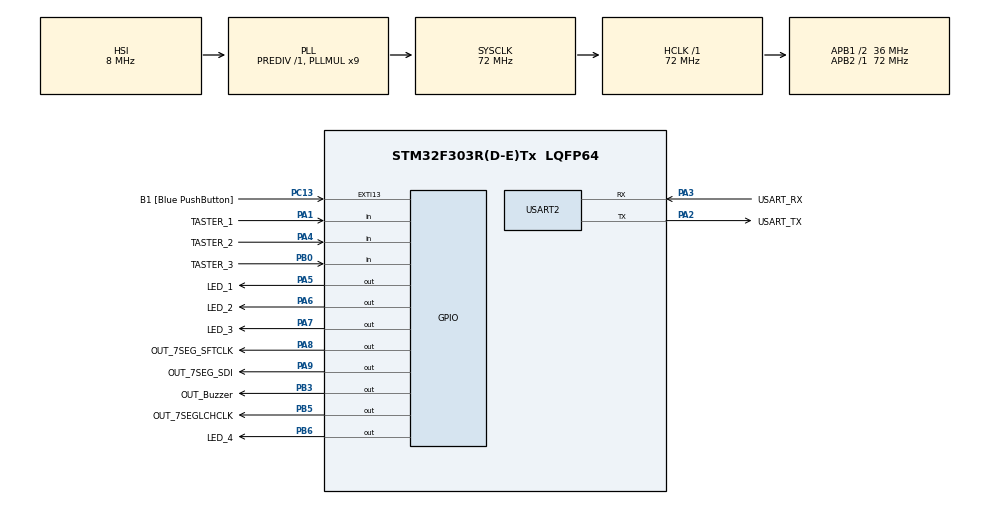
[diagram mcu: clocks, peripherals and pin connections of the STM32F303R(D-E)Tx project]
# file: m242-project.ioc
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FREERTOS.Tasks01=defaultTask,24,128,StartDefaultTask,Default,NULL,Dynamic,NULL,NULL;tasterTask,8,128,Taster_Treiber_Task,Default,NULL,Dynamic,NULL,NULL;displayTask,8,128,StartDisplayTask,Default,NULL,Dynamic,NULL,NULL
FREERTOS.Timers01=stopwatchTimer,stopwatchCallback,osTimerPeriodic,Default,NULL,Dynamic,NULL
FREERTOS.configUSE_NEWLIB_REENTRANT=1
Mcu.Family=STM32F3
Mcu.Name=STM32F303R(D-E)Tx
Mcu.Package=LQFP64
NVIC.PriorityGroup=NVIC_PRIORITYGROUP_4
NVIC.TIM1_UP_TIM16_IRQn=true\:15\:0\:false\:false\:true\:false\:false\:true\:true
NVIC.TIM3_IRQn=true\:5\:0\:false\:false\:true\:true\:true\:true\:true
NVIC.TimeBase=TIM1_UP_TIM16_IRQn
NVIC.TimeBaseIP=TIM1
PA1.GPIO_Label=TASTER_1
PA1.Signal=GPIO_Input
PA13.GPIO_Label=TMS
PA13.Mode=Serial_Wire
PA13.Signal=SYS_JTMS-SWDIO
PA14.GPIO_Label=TCK
PA14.Mode=Serial_Wire
PA14.Signal=SYS_JTCK-SWCLK
PA2.GPIO_Label=USART_TX
PA2.GPIO_Mode=GPIO_MODE_AF_PP
PA2.GPIO_PuPd=GPIO_NOPULL
PA2.GPIO_Speed=GPIO_SPEED_FREQ_LOW
PA2.Mode=Asynchronous
PA2.Signal=USART2_TX
PA3.GPIO_Label=USART_RX
PA3.GPIO_Mode=GPIO_MODE_AF_PP
PA3.GPIO_PuPd=GPIO_NOPULL
PA3.GPIO_Speed=GPIO_SPEED_FREQ_LOW
PA3.Mode=Asynchronous
PA3.Signal=USART2_RX
PA4.GPIO_Label=TASTER_2
PA4.Signal=GPIO_Input
PA5.GPIO_Label=LED_1
PA5.GPIO_Mode=GPIO_MODE_OUTPUT_PP
PA5.GPIO_PuPd=GPIO_NOPULL
PA5.GPIO_Speed=GPIO_SPEED_FREQ_LOW
PA5.Signal=GPIO_Output
PA6.GPIO_Label=LED_2
PA6.Signal=GPIO_Output
PA7.GPIO_Label=LED_3
PA7.Signal=GPIO_Output
PA8.GPIO_Label=OUT_7SEG_SFTCLK
PA8.Signal=GPIO_Output
PA9.GPIO_Label=OUT_7SEG_SDI
PA9.Signal=GPIO_Output
PB0.GPIO_Label=TASTER_3
PB0.Signal=GPIO_Input
PB3.GPIO_Label=OUT_Buzzer
PB3.Signal=GPIO_Output
PB5.GPIO_Label=OUT_7SEGLCHCLK
PB5.Signal=GPIO_Output
PB6.GPIO_Label=LED_4
PB6.Signal=GPIO_Output
PC13.GPIO_Label=B1 [Blue PushButton]
PC13.GPIO_ModeDefaultEXTI=GPIO_MODE_IT_FALLING
PC13.Signal=GPXTI13
PC14-OSC32_IN.Mode=LSE-External-Oscillator
PC14-OSC32_IN.Signal=RCC_OSC32_IN
PC15-OSC32_OUT.Mode=LSE-External-Oscillator
PC15-OSC32_OUT.Signal=RCC_OSC32_OUT
PF0-OSC_IN.Mode=HSE-External-Clock-Source
PF0-OSC_IN.Signal=RCC_OSC_IN
PF1-OSC_OUT.Signal=RCC_OSC_OUT
ProjectManager.HeapSize=0x200
ProjectManager.StackSize=0x400
ProjectManager.TargetToolchain=STM32CubeIDE
RCC.AHBFreq_Value=72000000
RCC.APB1CLKDivider=RCC_HCLK_DIV2
RCC.APB1Freq_Value=36000000
RCC.APB1TimFreq_Value=72000000
RCC.APB2Freq_Value=72000000
RCC.APB2TimFreq_Value=72000000
RCC.CortexFreq_Value=72000000
RCC.HCLKFreq_Value=72000000
RCC.HSE_VALUE=8000000
RCC.HSI_VALUE=8000000
RCC.PLLM=8
RCC.PLLMUL=RCC_PLL_MUL9
RCC.PLLN=336
RCC.PLLP=RCC_PLLP_DIV4
RCC.PLLQ=7
RCC.RCC_PLLsource_Clock_Source_FROM_HSE=RCC_HSE_PREDIV_DIV2
RCC.SYSCLKFreq_VALUE=72000000
RCC.SYSCLKSourceVirtual=RCC_SYSCLKSOURCE_PLLCLK
RCC.USBFreq_Value=72000000
TIM3.Period=250
TIM3.Prescaler=36000-1
USART2.VirtualMode-Asynchronous=VM_ASYNC
VP_FREERTOS_VS_CMSIS_V2.Mode=CMSIS_V2
VP_SYS_VS_tim1.Mode=TIM1
VP_TIM3_VS_ClockSourceINT.Mode=Internal
board=NUCLEO-F303RE

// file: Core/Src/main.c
/* USER CODE BEGIN Header */
/**
 ******************************************************************************
 * @file           : main.c
 * @brief          : Main program body
 ******************************************************************************
 * @attention
 *
 * Copyright (c) 2023 STMicroelectronics.
 * All rights reserved.
 *
 * This software is licensed under terms that can be found in the LICENSE file
 * in the root directory of this software component.
 * If no LICENSE file comes with this software, it is provided AS-IS.
 *
 ******************************************************************************
 */
/* USER CODE END Header */
#include "main.h"
#include "cmsis_os.h"

/* USER CODE BEGIN Includes */

#include "LED_Treiber.h"
#include "Taster_Treiber.h"
#include "Seg_Driver.h"

/* USER CODE END Includes */

TIM_HandleTypeDef htim3;

UART_HandleTypeDef huart2;

/* Definitions for defaultTask */
osThreadId_t defaultTaskHandle;
const osThreadAttr_t defaultTask_attributes = { .name = "defaultTask",
		.stack_size = 128 * 4, .priority = (osPriority_t) osPriorityNormal, };
/* Definitions for tasterTask */
osThreadId_t tasterTaskHandle;
const osThreadAttr_t tasterTask_attributes = { .name = "tasterTask",
		.stack_size = 128 * 4, .priority = (osPriority_t) osPriorityLow, };
/* Definitions for displayTask */
osThreadId_t displayTaskHandle;
const osThreadAttr_t displayTask_attributes = { .name = "displayTask",
		.stack_size = 128 * 4, .priority = (osPriority_t) osPriorityLow, };
/* Definitions for stopwatchTimer */
osTimerId_t stopwatchTimerHandle;
const osTimerAttr_t stopwatchTimer_attributes = { .name = "stopwatchTimer" };

void SystemClock_Config(void);
static void MX_GPIO_Init(void);
static void MX_USART2_UART_Init(void);
static void MX_TIM3_Init(void);
void StartDefaultTask(void *argument);
void Taster_Treiber_Task(void *argument);
void StartDisplayTask(void *argument);
//void stopwatchCallback(void *argument);

int main(void) {

	/* MCU Configuration--------------------------------------------------------*/

	/* Reset of all peripherals, Initializes the Flash interface and the Systick. */
	HAL_Init();

	/* Configure the system clock */
	SystemClock_Config();

	/* Initialize all configured peripherals */
	MX_GPIO_Init();
	MX_USART2_UART_Init();
	MX_TIM3_Init();

	/* Init scheduler */
	osKernelInitialize();

	/* Create the timer(s) */
	/* creation of stopwatchTimer */
	//stopwatchTimerHandle = osTimerNew(stopwatchCallback, osTimerPeriodic, NULL, &stopwatchTimer_attributes);

	/* Create the thread(s) */
	/* creation of defaultTask */
	defaultTaskHandle = osThreadNew(StartDefaultTask, NULL,
			&defaultTask_attributes);

	/* creation of tasterTask */
	tasterTaskHandle = osThreadNew(Taster_Treiber_Task, NULL,
			&tasterTask_attributes);

	/* creation of displayTask */
	displayTaskHandle = osThreadNew(StartDisplayTask, NULL,
			&displayTask_attributes);

	/* Start scheduler */
	osKernelStart();
	/* We should never get here as control is now taken by the scheduler */
	/* Infinite loop */
	while (1) {

	}
}

void SystemClock_Config(void) {
	RCC_OscInitTypeDef RCC_OscInitStruct = { 0 };
	RCC_ClkInitTypeDef RCC_ClkInitStruct = { 0 };
	RCC_PeriphCLKInitTypeDef PeriphClkInit = { 0 };

	/** Initializes the RCC Oscillators according to the specified parameters
	 * in the RCC_OscInitTypeDef structure.
	 */
	RCC_OscInitStruct.OscillatorType = RCC_OSCILLATORTYPE_HSI;
	RCC_OscInitStruct.HSIState = RCC_HSI_ON;
	RCC_OscInitStruct.HSICalibrationValue = RCC_HSICALIBRATION_DEFAULT;
	RCC_OscInitStruct.PLL.PLLState = RCC_PLL_ON;
	RCC_OscInitStruct.PLL.PLLSource = RCC_PLLSOURCE_HSI;
	RCC_OscInitStruct.PLL.PLLMUL = RCC_PLL_MUL9;
	RCC_OscInitStruct.PLL.PREDIV = RCC_PREDIV_DIV1;
	if (HAL_RCC_OscConfig(&RCC_OscInitStruct) != HAL_OK) {
		Error_Handler();
	}

	/** Initializes the CPU, AHB and APB buses clocks
	 */
	RCC_ClkInitStruct.ClockType = RCC_CLOCKTYPE_HCLK | RCC_CLOCKTYPE_SYSCLK
			| RCC_CLOCKTYPE_PCLK1 | RCC_CLOCKTYPE_PCLK2;
	RCC_ClkInitStruct.SYSCLKSource = RCC_SYSCLKSOURCE_PLLCLK;
	RCC_ClkInitStruct.AHBCLKDivider = RCC_SYSCLK_DIV1;
	RCC_ClkInitStruct.APB1CLKDivider = RCC_HCLK_DIV2;
	RCC_ClkInitStruct.APB2CLKDivider = RCC_HCLK_DIV1;

	if (HAL_RCC_ClockConfig(&RCC_ClkInitStruct, FLASH_LATENCY_2) != HAL_OK) {
		Error_Handler();
	}
	PeriphClkInit.PeriphClockSelection = RCC_PERIPHCLK_USART2
			| RCC_PERIPHCLK_TIM34;
	PeriphClkInit.Usart2ClockSelection = RCC_USART2CLKSOURCE_PCLK1;
	PeriphClkInit.Tim34ClockSelection = RCC_TIM34CLK_HCLK;
	if (HAL_RCCEx_PeriphCLKConfig(&PeriphClkInit) != HAL_OK) {
		Error_Handler();
	}
}

static void MX_TIM3_Init(void) {

	TIM_ClockConfigTypeDef sClockSourceConfig = { 0 };
	TIM_MasterConfigTypeDef sMasterConfig = { 0 };

	htim3.Instance = TIM3;
	htim3.Init.Prescaler = 36000 - 1;
	htim3.Init.CounterMode = TIM_COUNTERMODE_UP;
	htim3.Init.Period = 250;
	htim3.Init.ClockDivision = TIM_CLOCKDIVISION_DIV1;
	htim3.Init.AutoReloadPreload = TIM_AUTORELOAD_PRELOAD_DISABLE;
	if (HAL_TIM_Base_Init(&htim3) != HAL_OK) {
		Error_Handler();
	}
	sClockSourceConfig.ClockSource = TIM_CLOCKSOURCE_INTERNAL;
	if (HAL_TIM_ConfigClockSource(&htim3, &sClockSourceConfig) != HAL_OK) {
		Error_Handler();
	}
	sMasterConfig.MasterOutputTrigger = TIM_TRGO_RESET;
	sMasterConfig.MasterSlaveMode = TIM_MASTERSLAVEMODE_DISABLE;
	if (HAL_TIMEx_MasterConfigSynchronization(&htim3, &sMasterConfig)
			!= HAL_OK) {
		Error_Handler();
	}

}

static void MX_USART2_UART_Init(void) {

	huart2.Instance = USART2;
	huart2.Init.BaudRate = 38400;
	huart2.Init.WordLength = UART_WORDLENGTH_8B;
	huart2.Init.StopBits = UART_STOPBITS_1;
	huart2.Init.Parity = UART_PARITY_NONE;
	huart2.Init.Mode = UART_MODE_TX_RX;
	huart2.Init.HwFlowCtl = UART_HWCONTROL_NONE;
	huart2.Init.OverSampling = UART_OVERSAMPLING_16;
	huart2.Init.OneBitSampling = UART_ONE_BIT_SAMPLE_DISABLE;
	huart2.AdvancedInit.AdvFeatureInit = UART_ADVFEATURE_NO_INIT;
	if (HAL_UART_Init(&huart2) != HAL_OK) {
		Error_Handler();
	}

}

static void MX_GPIO_Init(void) {
	GPIO_InitTypeDef GPIO_InitStruct = { 0 };

	/* GPIO Ports Clock Enable */
	__HAL_RCC_GPIOC_CLK_ENABLE();
	__HAL_RCC_GPIOF_CLK_ENABLE();
	__HAL_RCC_GPIOA_CLK_ENABLE();
	__HAL_RCC_GPIOB_CLK_ENABLE();

	/*Configure GPIO pin Output Level */
	HAL_GPIO_WritePin(GPIOA,
			LED_1_Pin | LED_2_Pin | LED_3_Pin | OUT_7SEG_SFTCLK_Pin
					| OUT_7SEG_SDI_Pin, GPIO_PIN_RESET);

	/*Configure GPIO pin Output Level */
	HAL_GPIO_WritePin(GPIOB, OUT_Buzzer_Pin | OUT_7SEGLCHCLK_Pin | LED_4_Pin,
			GPIO_PIN_RESET);

	/*Configure GPIO pin : B1_Pin */
	GPIO_InitStruct.Pin = B1_Pin;
	GPIO_InitStruct.Mode = GPIO_MODE_IT_FALLING;
	GPIO_InitStruct.Pull = GPIO_NOPULL;
	HAL_GPIO_Init(B1_GPIO_Port, &GPIO_InitStruct);

	/*Configure GPIO pins : TASTER_1_Pin TASTER_2_Pin */
	GPIO_InitStruct.Pin = TASTER_1_Pin | TASTER_2_Pin;
	GPIO_InitStruct.Mode = GPIO_MODE_INPUT;
	GPIO_InitStruct.Pull = GPIO_NOPULL;
	HAL_GPIO_Init(GPIOA, &GPIO_InitStruct);

	/*Configure GPIO pins : LED_1_Pin LED_2_Pin LED_3_Pin OUT_7SEG_SFTCLK_Pin
	 OUT_7SEG_SDI_Pin */
	GPIO_InitStruct.Pin = LED_1_Pin | LED_2_Pin | LED_3_Pin
			| OUT_7SEG_SFTCLK_Pin | OUT_7SEG_SDI_Pin;
	GPIO_InitStruct.Mode = GPIO_MODE_OUTPUT_PP;
	GPIO_InitStruct.Pull = GPIO_NOPULL;
	GPIO_InitStruct.Speed = GPIO_SPEED_FREQ_LOW;
	HAL_GPIO_Init(GPIOA, &GPIO_InitStruct);

	/*Configure GPIO pin : TASTER_3_Pin */
	GPIO_InitStruct.Pin = TASTER_3_Pin;
	GPIO_InitStruct.Mode = GPIO_MODE_INPUT;
	GPIO_InitStruct.Pull = GPIO_NOPULL;
	HAL_GPIO_Init(TASTER_3_GPIO_Port, &GPIO_InitStruct);

	/*Configure GPIO pins : OUT_Buzzer_Pin OUT_7SEGLCHCLK_Pin LED_4_Pin */
	GPIO_InitStruct.Pin = OUT_Buzzer_Pin | OUT_7SEGLCHCLK_Pin | LED_4_Pin;
	GPIO_InitStruct.Mode = GPIO_MODE_OUTPUT_PP;
	GPIO_InitStruct.Pull = GPIO_NOPULL;
	GPIO_InitStruct.Speed = GPIO_SPEED_FREQ_LOW;
	HAL_GPIO_Init(GPIOB, &GPIO_InitStruct);

}

/* USER CODE BEGIN 4 */
int stopuhr = 0;
int timerStatus = 10;
int timer = 0;
int meanTime = 0;
int mode = 0;
int stopuhrIsRuning = 0;
int timerIsRunning = 0;
int taster3Counter = 0;
/* USER CODE END 4 */

void StartDefaultTask(void *argument) {
	/* USER CODE BEGIN 5 */
	// Reset Buzzer since hes turned on per default
	HAL_GPIO_TogglePin(OUT_Buzzer_GPIO_Port, OUT_Buzzer_Pin);

	// Reset LED's
	LED_Set(LED_1, 0);
	LED_Set(LED_2, 0);
	LED_Set(LED_3, 0);
	LED_Set(LED_4, 1);
	/* Infinite loop */
	while (1) {
		// mode 0: stopuhr, mode 1: timer
		while (mode == 0) {
			LED_Set(LED_2, 0);
			LED_Set(LED_1, 1);
			if (Taster_Get(TASTER_3)) {
				switchMode();
				if (mode != 1) {
					stopuhr = 0;
					SEG_Driver_Write(stopuhr, SEG_Driver_DP_2 | SEG_Driver_DP_4, 0);
				}
			}
			if (Taster_Get(TASTER_1)) {
				beep(100);
				stopuhrIsRuning = 1;
				LED_Set(LED_3, 1);
			}
			while (stopuhrIsRuning == 1 && mode == 0) {
				stopuhrRunning();
			}
			osDelay(100);
			countDownTimer();
		}
		while (mode == 1) {
			LED_Set(LED_1, 0);
			LED_Set(LED_2, 1);
			// timerStatus is also the value that gets substracted or added thats why its chaning from 10 to 1000 (seconds, minutes)
			while (timerStatus != 1990) {
				if (Taster_Get(TASTER_1)) {
					timer = timer - timerStatus;
				}
				if (Taster_Get(TASTER_2)) {
					timer = timer + timerStatus;
				}
				if (Taster_Get(TASTER_3)) {
					timerStatus = timerStatus + 990;
				}
				SEG_Driver_Write(timer, SEG_Driver_DP_2 | SEG_Driver_DP_4,
						SEG_Driver_FLASH_SLOW);
				countUpStopuhr();
				osDelay(100);
			}
			timerIsRunning = 1;
			SEG_Driver_Write(timer, SEG_Driver_DP_2 | SEG_Driver_DP_4, 0);
			osDelay(100);
			countUpStopuhr();
			countDownTimer();
			switchMode();
		}
		osDelay(100);
	}
}

// Takes in miliseconds as an int and buzzes as long as these miliseconds
void beep(int time) {
	HAL_GPIO_TogglePin(OUT_Buzzer_GPIO_Port, OUT_Buzzer_Pin);
	osDelay(time);
	HAL_GPIO_TogglePin(OUT_Buzzer_GPIO_Port, OUT_Buzzer_Pin);
}

// Counts down the timer by 1 if hes running and activates the buzzer if the timer is on 0
void countDownTimer() {
	if (timer == 0 && timerIsRunning == 1) {
		timerStatus = 10;
		timerIsRunning = 0;
		beep(3000);
	}
	if (timerIsRunning == 1) {
		if (timer % 1000 == 0) {
			timer -= 400;
		} else {
			timer--;
		}
	}
}

// Counts up the stopuhr by 1 if its running
void countUpStopuhr() {
	if (stopuhrIsRuning == 1) {
		// calculation because if it is on 600 miliseconds it should add a minute instead of another second -> plus 400 will equal 1000 -> a minute
		if ((stopuhr + 400) % 1000 == 0) {
			stopuhr += 400;
		} else {
			stopuhr++;
		}
	}
}

// Runs the stopuhr
void stopuhrRunning() {
	if (Taster_Get(TASTER_2) && mode == 0) {
		beep(100);
		stopuhrIsRuning = 0;
		LED_Set(LED_3, 0);
	}
	if (Taster_Get(TASTER_3) && mode == 0) {
		switchMode();
		if (mode != 1 && meanTime == 0) {
			beep(100);
			meanTime = stopuhr;
		} else {
			beep(100);
			meanTime = 0;
		}
	}
	osDelay(100);
	countUpStopuhr();
	countDownTimer();
	if (meanTime == 0 && mode == 0) {
		SEG_Driver_Write(stopuhr, SEG_Driver_DP_2 | SEG_Driver_DP_4, 0);
	} else if (mode == 0) {
		SEG_Driver_Write(meanTime, SEG_Driver_DP_2 | SEG_Driver_DP_4,
				SEG_Driver_FLASH_SLOW);
	}
}

// checks for long pressing of the TASTER_3 so it could switch modes
void switchMode() {
	while (Taster_Get(TASTER_3)) {
		taster3Counter++;
		if (taster3Counter > 10) {
			if (mode == 0) {
				mode = 1;
				SEG_Driver_Write(timer, SEG_Driver_DP_2 | SEG_Driver_DP_4,
						SEG_Driver_FLASH_SLOW);
			} else {
				mode = 0;
				SEG_Driver_Write(stopuhr, SEG_Driver_DP_2 | SEG_Driver_DP_4, 0);
			}
			taster3Counter = 0;
		}
		osDelay(100);
	}
}

/* USER CODE END 5 */

void Taster_Treiber_Task(void *argument) {
	/* USER CODE BEGIN Taster_Treiber_Task */
	/* Infinite loop */
	Taster_Treiber_Init_Task(argument);
	/* USER CODE END Taster_Treiber_Task */
}

void StartDisplayTask(void *argument) {
	/* USER CODE BEGIN StartDisplayTask */
	/* Infinite loop */
	while (true) {
		SEG_Driver_Task_5ms();
		osDelay(5);
	}
	/* USER CODE END StartDisplayTask */
}

/* stopwatchCallback function */
void stopwatchCallback(void *argument) {
}

void HAL_TIM_PeriodElapsedCallback(TIM_HandleTypeDef *htim) {
	if (htim->Instance == TIM1) {
		HAL_IncTick();
	}
}

void Error_Handler(void) {
	__disable_irq();
	while (1) {
	}
}
